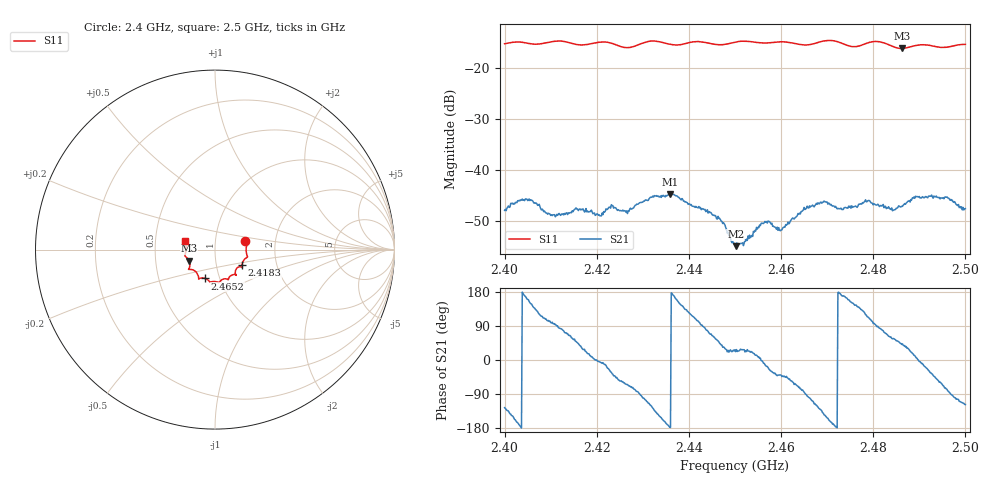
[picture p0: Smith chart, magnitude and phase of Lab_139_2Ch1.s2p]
# Hz S RI R 50
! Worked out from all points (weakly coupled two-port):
!   601 points, 2.4 GHz to 2.5 GHz, reference 50 ohm
!   highest |S21| = -44.72 dB at 2.4358 GHz (marker M1); lowest = -55.0 dB at 2.4502 GHz (marker M2)
!   lowest |S11| = -16.1 dB at 2.4863 GHz (marker M3), VSWR 1.37, Z = 37.1 - j4.75 ohm
!   |S11| at or under -10 dB: start of sweep to end of sweep
!   S12 and S22 are empty: the file has one direction only
!   S11 on the Smith chart (normalised r, x): 2.4 GHz: 1.40, +0.14; 2.4183 GHz: 1.33, -0.24; 2.4652 GHz: 0.85, -0.28; 2.5 GHz: 0.71, +0.07
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2.4e9  0.1683 0.0469  -0.00235 -0.00326  0 0  0 0
2.404333e9  0.1773 0.0243  -0.00493 0.000896  0 0  0 0
2.4105e9  0.1801 -0.036  -0.000407 0.00361  0 0  0 0
2.416667e9  0.1555 -0.0683  0.00343 0.00227  0 0  0 0
2.418333e9  0.1501 -0.0868  0.00376 0.00108  0 0  0 0
2.4265e9  0.122 -0.1033  0.00171 -0.00359  0 0  0 0
2.433333e9  0.1172 -0.1415  -0.00447 -0.00329  0 0  0 0
2.435833e9  0.1021 -0.1394  -0.0058 -0.000273  0 0  0 0
2.446667e9  0.0479 -0.164  0.00241 0.00233  0 0  0 0
2.45e9  0.0258 -0.1795  0.00163 0.000829  0 0  0 0
2.450167e9  0.0253 -0.1802  0.00166 0.00067  0 0  0 0
2.456333e9  -0.00298 -0.1778  0.003 -0.000474  0 0  0 0
2.460167e9  -0.0273 -0.1807  0.00187 -0.00178  0 0  0 0
2.465167e9  -0.0545 -0.161  0.000154 -0.0041  0 0  0 0
2.466667e9  -0.0707 -0.1578  -0.00131 -0.00425  0 0  0 0
2.4695e9  -0.09 -0.1634  -0.00404 -0.00277  0 0  0 0
2.473e9  -0.0915 -0.1526  -0.0042 0.000558  0 0  0 0
2.478833e9  -0.1401 -0.1101  -0.002 0.00459  0 0  0 0
2.483333e9  -0.1414 -0.0966  0.002 0.00388  0 0  0 0
2.486333e9  -0.1441 -0.0624  0.00324 0.00298  0 0  0 0
2.492667e9  -0.1655 -0.0225  0.00459 -0.00335  0 0  0 0
2.5e9  -0.1657 0.0473  -0.00193 -0.00371  0 0  0 0
